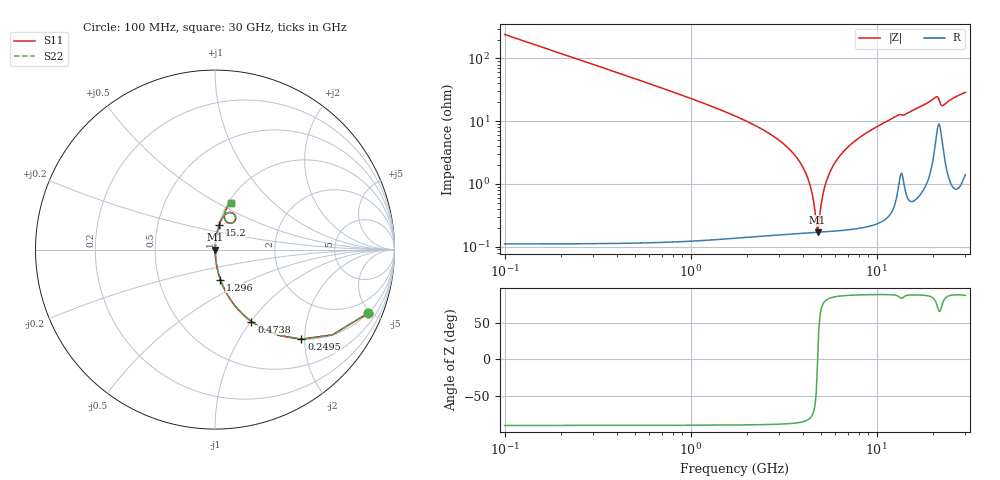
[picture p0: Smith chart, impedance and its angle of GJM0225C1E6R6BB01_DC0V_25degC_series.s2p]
!Murata Part Number: GJM0225C1E6R6BB01
!These Parameters are Measured in Series Mode Connection
!  o--ll--o
!Port1  Port2
!  o------o
!Operation Temp=25[degC], DC Bias Voltage=0[V]
!Freq. Start=100[MHz] Stop=30[GHz], 401[Steps]
!Data Generated on Feb 1, 2023
# Hz S RI R 50
!Freq.(Hz) S11(Real) S11(Imag) S21(Real) S21(Imag) S12(Real) S12(Imag) S22(Real) S22(Imag)
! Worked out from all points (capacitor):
!   401 points, 100 MHz to 30 GHz, reference 50 ohm
!   read as one part in series: C = 6.6 pF near 249.5 MHz
!   lowest |Z| = 169 mohm at 4.809 GHz (marker M1)
!   series resonance near 4.816 GHz, so ESL is about 170 pH
!   S11 on the Smith chart (normalised r, x): 100 MHz: 1.00, -4.82; 249.5 MHz: 1.00, -1.93; 473.8 MHz: 1.00, -1.01; 1.296 GHz: 1.00, -0.34; 15.2 GHz: 1.01, +0.28; 30 GHz: 1.03, +0.57
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1e8  0.853 -0.3538  0.147 0.3538  0.147 0.3538  0.853 -0.3538
2.495e8  0.4816 -0.4991  0.5184 0.4991  0.5184 0.4991  0.4816 -0.4991
4.7375e8  0.2031 -0.4012  0.7969 0.4012  0.7969 0.4012  0.2031 -0.4012
7.7275e8  0.0854 -0.2776  0.9146 0.2776  0.9146 0.2776  0.0854 -0.2776
1.296e9  0.03 -0.167  0.97 0.167  0.97 0.167  0.03 -0.167
3.8375e9  0.00213 -0.0228  0.9979 0.0228  0.9979 0.0228  0.00213 -0.0228
4.36075e9  0.00175 -0.00993  0.9983 0.00993  0.9983 0.00993  0.00175 -0.00993
4.7345e9  0.00168 -0.00171  0.9983 0.00171  0.9983 0.00171  0.00168 -0.00171
4.80925e9  0.00168 -0.000148  0.9983 0.000148  0.9983 0.000148  0.00168 -0.000148
4.95875e9  0.0017 0.00291  0.9983 -0.00291  0.9983 -0.00291  0.0017 0.00291
5.10825e9  0.00173 0.00588  0.9983 -0.00588  0.9983 -0.00588  0.00173 0.00588
5.6315e9  0.00198 0.0157  0.998 -0.0157  0.998 -0.0157  0.00198 0.0157
6.5285e9  0.00276 0.0309  0.9972 -0.0309  0.9972 -0.0309  0.00276 0.0309
7.94875e9  0.00468 0.0523  0.9953 -0.0523  0.9953 -0.0523  0.00468 0.0523
1.01165e10  0.00906 0.0818  0.9909 -0.0818  0.9909 -0.0818  0.00906 0.0818
1.505e10  0.0243 0.1361  0.9757 -0.1361  0.9757 -0.1361  0.0243 0.1361
1.51995e10  0.0248 0.1381  0.9752 -0.1381  0.9752 -0.1381  0.0248 0.1381
2.005825e10  0.0671 0.2028  0.9329 -0.2028  0.9329 -0.2028  0.0671 0.2028
2.11795e10  0.1097 0.1935  0.8903 -0.1935  0.8903 -0.1935  0.1097 0.1935
2.245025e10  0.0714 0.1502  0.9286 -0.1502  0.9286 -0.1502  0.0714 0.1502
2.50665e10  0.0549 0.2061  0.9451 -0.2061  0.9451 -0.2061  0.0549 0.2061
3e10  0.0869 0.2585  0.9131 -0.2585  0.9131 -0.2585  0.0869 0.2585
